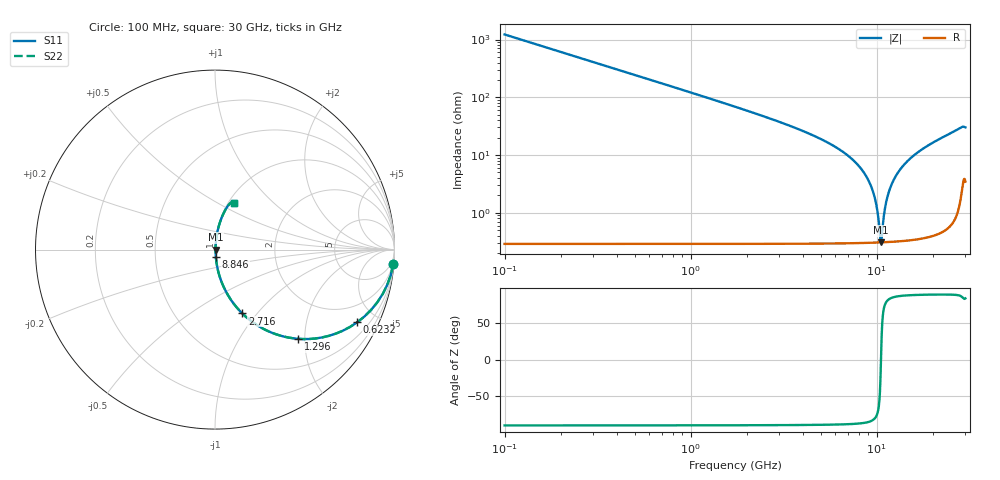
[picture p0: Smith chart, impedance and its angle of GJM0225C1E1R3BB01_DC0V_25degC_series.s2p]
!Murata Part Number: GJM0225C1E1R3BB01
!These Parameters are Measured in Series Mode Connection
!  o--ll--o
!Port1  Port2
!  o------o
!Operation Temp=25[degC], DC Bias Voltage=0[V]
!Freq. Start=100[MHz] Stop=30[GHz], 401[Steps]
!Data Generated on Feb 1, 2023
# Hz S RI R 50
!Freq.(Hz) S11(Real) S11(Imag) S21(Real) S21(Imag) S12(Real) S12(Imag) S22(Real) S22(Imag)
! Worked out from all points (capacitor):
!   401 points, 100 MHz to 30 GHz, reference 50 ohm
!   read as one part in series: C = 1.3 pF near 249.5 MHz
!   lowest |Z| = 309 mohm at 10.56 GHz (marker M1)
!   series resonance near 10.55 GHz, so ESL is about 170 pH
!   S11 on the Smith chart (normalised r, x): 100 MHz: 1, -24; 623.2 MHz: 1.01, -3.92; 1.296 GHz: 1.01, -1.86; 2.716 GHz: 1.01, -0.84; 8.846 GHz: 1.01, -0.08; 30 GHz: 1.07, +0.60
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1e8  0.9934 -0.0811  0.00665 0.0811  0.00665 0.0811  0.9934 -0.0811
3.99e8  0.9035 -0.2948  0.0965 0.2948  0.0965 0.2948  0.9035 -0.2948
6.2325e8  0.7927 -0.4046  0.2073 0.4046  0.2073 0.4046  0.7927 -0.4046
1.296e9  0.4642 -0.4972  0.5358 0.4972  0.5358 0.4972  0.4642 -0.4972
1.894e9  0.2823 -0.4478  0.7177 0.4478  0.7177 0.4478  0.2823 -0.4478
2.71625e9  0.1523 -0.3559  0.8477 0.3559  0.8477 0.3559  0.1523 -0.3559
5.10825e9  0.0353 -0.1767  0.9647 0.1767  0.9647 0.1767  0.0353 -0.1767
7.4255e9  0.00983 -0.0824  0.9902 0.0824  0.9902 0.0824  0.00983 -0.0824
8.84575e9  0.00469 -0.041  0.9953 0.041  0.9953 0.041  0.00469 -0.041
9.59325e9  0.00352 -0.0221  0.9965 0.0221  0.9965 0.0221  0.00352 -0.0221
1.01165e10  0.00314 -0.00978  0.9969 0.00978  0.9969 0.00978  0.00314 -0.00978
1.04155e10  0.00307 -0.00303  0.9969 0.00303  0.9969 0.00303  0.00307 -0.00303
1.0565e10  0.00307 0.000281  0.9969 -0.000281  0.9969 -0.000281  0.00307 0.000281
1.063975e10  0.00307 0.00192  0.9969 -0.00192  0.9969 -0.00192  0.00307 0.00192
1.093875e10  0.00315 0.00835  0.9968 -0.00835  0.9968 -0.00835  0.00315 0.00835
1.1163e10  0.00326 0.0131  0.9967 -0.0131  0.9967 -0.0131  0.00326 0.0131
1.19105e10  0.00392 0.0282  0.9961 -0.0282  0.9961 -0.0282  0.00392 0.0282
1.318125e10  0.00592 0.0521  0.9941 -0.0521  0.9941 -0.0521  0.00592 0.0521
1.505e10  0.0105 0.0841  0.9895 -0.0841  0.9895 -0.0841  0.0105 0.0841
2.005825e10  0.0299 0.1585  0.9701 -0.1585  0.9701 -0.1585  0.0299 0.1585
2.50665e10  0.0597 0.2247  0.9403 -0.2247  0.9403 -0.2247  0.0597 0.2247
3e10  0.1083 0.2583  0.8917 -0.2583  0.8917 -0.2583  0.1083 0.2583
